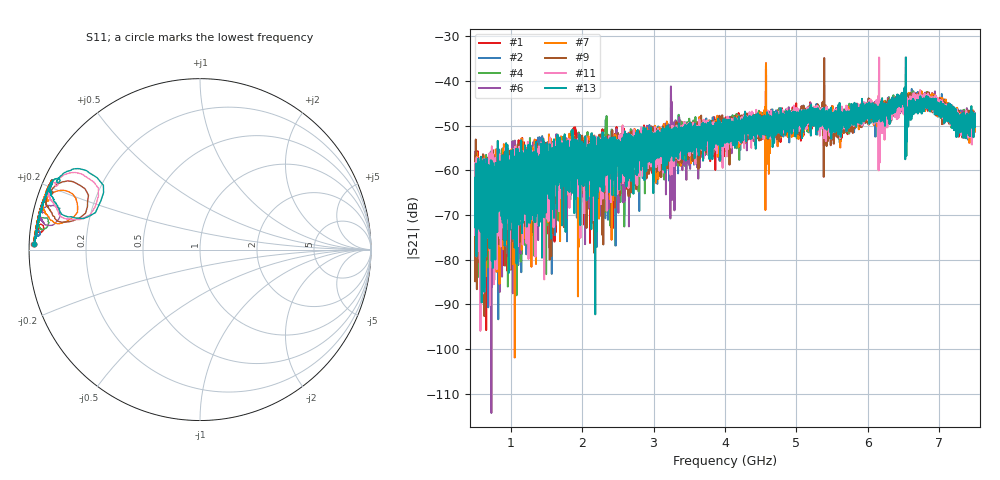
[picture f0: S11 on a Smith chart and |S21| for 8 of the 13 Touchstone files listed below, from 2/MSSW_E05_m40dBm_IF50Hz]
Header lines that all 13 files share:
!Keysight Technologies,M9374A,MY55442783,A.12.55.05
!Correction: S11(Full 2 Port(1,2))
!S21(Full 2 Port(1,2))
!S12(Full 2 Port(1,2))
!S22(Full 2 Port(1,2))
!S2P File: Measurements: S11, S21, S12, S22:
# Hz S  RI  R 50
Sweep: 500 MHz to 7.5 GHz
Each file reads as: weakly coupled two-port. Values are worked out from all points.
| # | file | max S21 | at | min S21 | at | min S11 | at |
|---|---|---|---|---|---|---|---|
| 1 | MSSW_E05_i0.5.s2p | -42.43 dB | 6.726 GHz | -95.8 dB | 656 MHz | -0.7 dB | 1.874 GHz |
| 2 | MSSW_E05_i0.s2p | -41.77 dB | 6.615 GHz | -93.4 dB | 826 MHz | -0.6 dB | 1.382 GHz |
| 3 | MSSW_E05_i1.5.s2p | -42.64 dB | 6.748 GHz | -97.2 dB | 775 MHz | -1.2 dB | 2.793 GHz |
| 4 | MSSW_E05_i1.s2p | -42.29 dB | 6.637 GHz | -88.0 dB | 1.082 GHz | -0.9 dB | 2.336 GHz |
| 5 | MSSW_E05_i2.5.s2p | -39.10 dB | 3.699 GHz | -88.0 dB | 837 MHz | -1.8 dB | 3.701 GHz |
| 6 | MSSW_E05_i2.s2p | -41.21 dB | 3.243 GHz | -114.3 dB | 729 MHz | -1.5 dB | 3.247 GHz |
| 7 | MSSW_E05_i3.5.s2p | -35.99 dB | 4.574 GHz | -101.9 dB | 1.056 GHz | -2.5 dB | 4.576 GHz |
| 8 | MSSW_E05_i3.s2p | -37.54 dB | 4.143 GHz | -90.2 dB | 648 MHz | -2.2 dB | 4.145 GHz |
| 9 | MSSW_E05_i4.5.s2p | -34.85 dB | 5.389 GHz | -92.6 dB | 631 MHz | -3.1 dB | 5.391 GHz |
| 10 | MSSW_E05_i4.s2p | -34.73 dB | 4.987 GHz | -95.0 dB | 624 MHz | -2.8 dB | 4.989 GHz |
| 11 | MSSW_E05_i5.5.s2p | -34.71 dB | 6.158 GHz | -95.9 dB | 575 MHz | -3.6 dB | 6.159 GHz |
| 12 | MSSW_E05_i5.s2p | -34.99 dB | 5.779 GHz | -86.2 dB | 629 MHz | -3.4 dB | 5.781 GHz |
| 13 | MSSW_E05_i6.s2p | -34.68 dB | 6.532 GHz | -92.3 dB | 2.184 GHz | -3.8 dB | 6.531 GHz |
